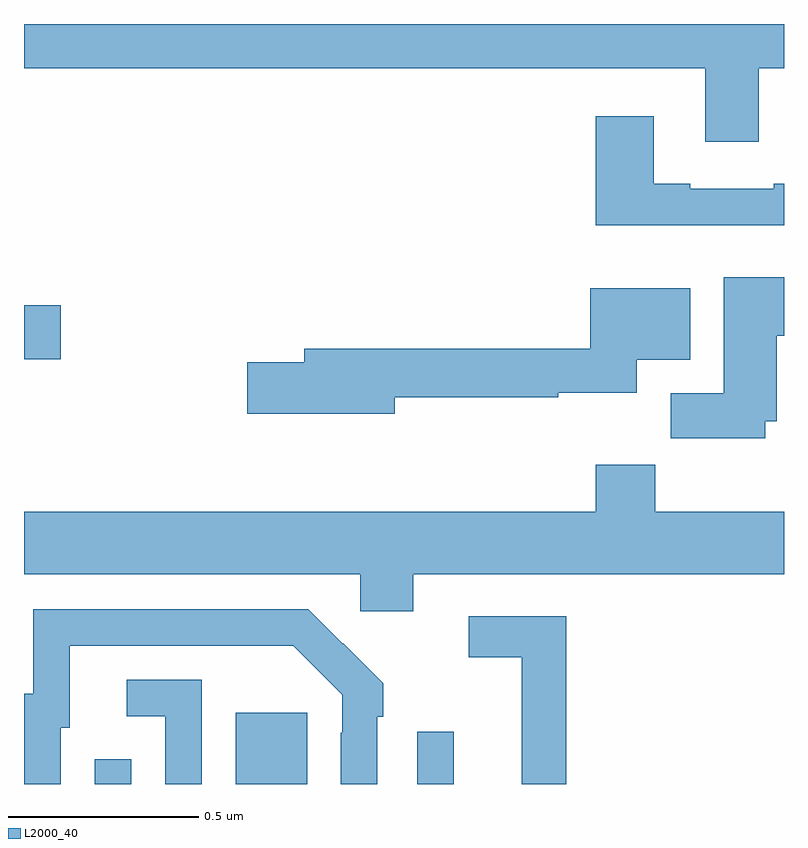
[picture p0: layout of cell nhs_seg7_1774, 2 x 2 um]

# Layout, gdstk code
import gdstk
lib = gdstk.Library(unit=1e-6, precision=1e-09)
def R(c, l, rs):  # rectangles x0, y0, x1, y1
    for r in rs: c.add(gdstk.rectangle(r[:2], r[2:], *l))
def P(c, l, *ps):  # polygons
    for p in ps: c.add(gdstk.Polygon(p, *l))
L2000_40 = (2000, 40)

nhs_seg7_1774 = lib.new_cell('nhs_seg7_1774')
R(nhs_seg7_1774, L2000_40, [(135.186,1064,135.282,1064.065), (135.557,1064,135.745,1064.188), (136.035,1064,136.131,1064.137), (135,1065.118,135.097,1065.26)])
P(nhs_seg7_1774, L2000_40, [(136.933,1065.884),(137,1065.884),(137,1066),(135,1066),(135,1065.884),(136.793,1065.884),(136.793,1065.69),(136.933,1065.69)],
  [(137,1065.58),(136.973,1065.58),(136.973,1065.567),(136.753,1065.567),(136.753,1065.58),(136.657,1065.58),(136.657,1065.757),(136.505,1065.757),(136.505,1065.47),(137,1065.47)],
  [(136.951,1064.954),(136.981,1064.954),(136.981,1065.18),(137,1065.18),(137,1065.334),(136.841,1065.334),(136.841,1065.028),(136.702,1065.028),(136.702,1064.91),(136.951,1064.91)],
  [(135.976,1065.018),(136.406,1065.018),(136.406,1065.029),(136.612,1065.029),(136.612,1065.116),(136.753,1065.116),(136.753,1065.304),(136.49,1065.304),(136.49,1065.146),(135.737,1065.146),(135.737,1065.11),(135.588,1065.11),(135.588,1064.975),(135.976,1064.975)],
  [(136.024,1064.552),(137,1064.552),(137,1064.716),(136.661,1064.716),(136.661,1064.84),(136.505,1064.84),(136.505,1064.716),(135,1064.716),(135,1064.552),(135.885,1064.552),(135.885,1064.454),(136.024,1064.454)],
  [(135.097,1064.148),(135.121,1064.148),(135.121,1064.364),(135.709,1064.364),(135.837,1064.235),(135.837,1064.135),(135.834,1064.135),(135.834,1064),(135.93,1064),(135.93,1064.177),(135.945,1064.177),(135.945,1064.265),(135.84,1064.37),(135.839,1064.369),(135.748,1064.46),(135.024,1064.46),(135.024,1064.238),(135,1064.238),(135,1064),(135.097,1064)],
  [(136.427,1064.442),(136.17,1064.442),(136.17,1064.334),(136.31,1064.334),(136.31,1064),(136.427,1064)],
  [(135.468,1064.274),(135.27,1064.274),(135.27,1064.178),(135.372,1064.178),(135.372,1064),(135.468,1064)])

lib.write_gds('nhs_seg7_1774.gds')
